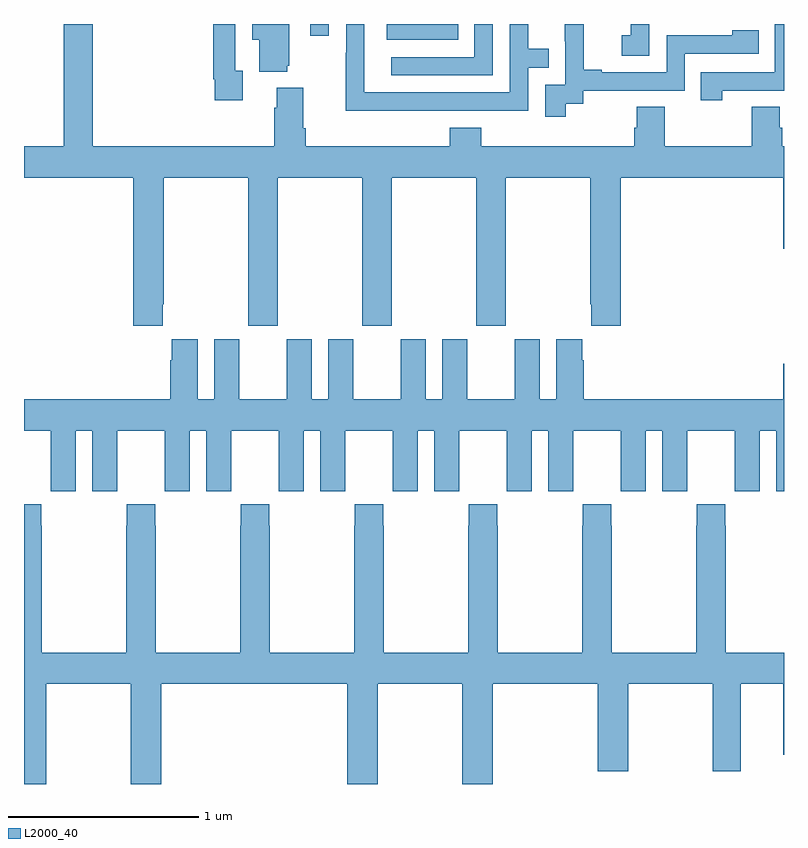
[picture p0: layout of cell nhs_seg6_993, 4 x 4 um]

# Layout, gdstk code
import gdstk
lib = gdstk.Library(unit=1e-6, precision=1e-09)
def R(c, l, rs):  # rectangles x0, y0, x1, y1
    for r in rs: c.add(gdstk.rectangle(r[:2], r[2:], *l))
def P(c, l, *ps):  # polygons
    for p in ps: c.add(gdstk.Polygon(p, *l))
L2000_40 = (2000, 40)

nhs_seg6_993 = lib.new_cell('nhs_seg6_993')
R(nhs_seg6_993, L2000_40, [(174.908,925.418,175.286,925.5), (174.507,925.437,174.603,925.5)])
P(nhs_seg6_993, L2000_40, [(176.674,925.149),(177,925.149),(177,925.5),(176.952,925.5),(176.952,925.245),(176.563,925.245),(176.563,925.098),(176.674,925.098)],
  [(175.157,925.044),(175.653,925.044),(175.653,925.269),(175.763,925.269),(175.763,925.37),(175.653,925.37),(175.653,925.5),(175.557,925.5),(175.557,925.14),(174.792,925.14),(174.792,925.5),(174.696,925.5),(174.696,925.349),(174.694,925.349),(174.694,925.043),(175.157,925.043)],
  [(175.852,925.081),(175.944,925.081),(175.944,925.149),(176.478,925.149),(176.478,925.344),(176.867,925.344),(176.867,925.467),(176.727,925.467),(176.727,925.44),(176.382,925.44),(176.382,925.245),(176.041,925.245),(176.041,925.258),(175.946,925.258),(175.946,925.5),(175.847,925.5),(175.847,925.409),(175.848,925.409),(175.848,925.179),(175.743,925.179),(175.743,925.011),(175.852,925.011)],
  [(175.467,925.5),(175.371,925.5),(175.371,925.326),(174.933,925.326),(174.933,925.23),(175.467,925.23)],
  [(174.386,925.281),(174.397,925.281),(174.397,925.5),(174.2,925.5),(174.2,925.418),(174.239,925.418),(174.239,925.25),(174.386,925.25)],
  [(173.731,924.025),(173.736,924.025),(173.736,924.692),(174.181,924.692),(174.181,923.913),(174.336,923.913),(174.336,924.692),(174.781,924.692),(174.781,923.913),(174.936,923.913),(174.936,924.692),(175.381,924.692),(175.381,923.913),(175.536,923.913),(175.536,924.692),(175.981,924.692),(175.981,924.025),(175.985,924.025),(175.985,923.913),(176.141,923.913),(176.141,924.692),(176.996,924.692),(176.996,924.318),(177,924.318),(177,924.856),(176.99,924.856),(176.99,924.954),(176.977,924.954),(176.977,925.064),(176.83,925.064),(176.83,924.856),(176.373,924.856),(176.373,925.064),(176.225,925.064),(176.225,924.954),(176.213,924.954),(176.213,924.856),(175.406,924.856),(175.406,924.955),(175.241,924.955),(175.241,924.856),(174.482,924.856),(174.482,924.952),(174.469,924.952),(174.469,925.165),(174.329,925.165),(174.329,925.058),(174.317,925.058),(174.317,924.856),(173.363,924.856),(173.363,925.5),(173.21,925.5),(173.21,924.856),(173,924.856),(173,924.692),(173.576,924.692),(173.576,923.913),(173.731,923.913)],
  [(174.151,925.254),(174.111,925.254),(174.111,925.5),(173.995,925.5),(173.995,925.21),(174.003,925.21),(174.003,925.098),(174.151,925.098)],
  [(176.292,925.5),(176.194,925.5),(176.194,925.441),(176.145,925.441),(176.145,925.332),(176.292,925.332)],
  [(174.133,923.842),(174.002,923.842),(174.002,923.524),(173.914,923.524),(173.914,923.842),(173.777,923.842),(173.777,923.729),(173.771,923.729),(173.771,923.524),(173,923.524),(173,923.36),(173.141,923.36),(173.141,923.152),(173.142,923.152),(173.142,923.04),(173.272,923.04),(173.272,923.36),(173.36,923.36),(173.36,923.04),(173.49,923.04),(173.49,923.152),(173.491,923.152),(173.491,923.36),(173.741,923.36),(173.741,923.152),(173.742,923.152),(173.742,923.04),(173.872,923.04),(173.872,923.36),(173.96,923.36),(173.96,923.04),(174.09,923.04),(174.09,923.152),(174.091,923.152),(174.091,923.36),(174.341,923.36),(174.341,923.152),(174.342,923.152),(174.342,923.04),(174.472,923.04),(174.472,923.36),(174.56,923.36),(174.56,923.04),(174.69,923.04),(174.69,923.152),(174.691,923.152),(174.691,923.36),(174.941,923.36),(174.941,923.152),(174.942,923.152),(174.942,923.04),(175.072,923.04),(175.072,923.36),(175.16,923.36),(175.16,923.04),(175.29,923.04),(175.29,923.152),(175.291,923.152),(175.291,923.36),(175.541,923.36),(175.541,923.152),(175.542,923.152),(175.542,923.04),(175.672,923.04),(175.672,923.36),(175.76,923.36),(175.76,923.04),(175.89,923.04),(175.89,923.152),(175.891,923.152),(175.891,923.36),(176.141,923.36),(176.141,923.152),(176.142,923.152),(176.142,923.04),(176.272,923.04),(176.272,923.36),(176.36,923.36),(176.36,923.04),(176.49,923.04),(176.49,923.152),(176.491,923.152),(176.491,923.36),(176.741,923.36),(176.741,923.152),(176.742,923.152),(176.742,923.04),(176.872,923.04),(176.872,923.36),(176.96,923.36),(176.96,923.04),(177,923.04),(177,923.713),(176.996,923.713),(176.996,923.524),(175.946,923.524),(175.946,923.729),(175.939,923.729),(175.939,923.842),(175.802,923.842),(175.802,923.524),(175.714,923.524),(175.714,923.842),(175.583,923.842),(175.583,923.524),(175.333,923.524),(175.333,923.842),(175.202,923.842),(175.202,923.524),(175.114,923.524),(175.114,923.842),(174.983,923.842),(174.983,923.524),(174.733,923.524),(174.733,923.842),(174.602,923.842),(174.602,923.524),(174.514,923.524),(174.514,923.842),(174.383,923.842),(174.383,923.524),(174.133,923.524)],
  [(173.563,921.5),(173.723,921.5),(173.723,922.028),(174.701,922.028),(174.701,921.5),(174.861,921.5),(174.861,922.028),(175.306,922.028),(175.306,921.5),(175.466,921.5),(175.466,922.028),(176.021,922.028),(176.021,921.567),(176.181,921.567),(176.181,922.028),(176.626,922.028),(176.626,921.567),(176.773,921.567),(176.773,922.028),(176.996,922.028),(176.996,921.654),(177,921.654),(177,922.192),(176.694,922.192),(176.694,922.859),(176.691,922.859),(176.691,922.972),(176.541,922.972),(176.541,922.859),(176.539,922.859),(176.539,922.192),(176.094,922.192),(176.094,922.859),(176.091,922.859),(176.091,922.972),(175.941,922.972),(175.941,922.859),(175.939,922.859),(175.939,922.192),(175.494,922.192),(175.494,922.859),(175.491,922.859),(175.491,922.972),(175.341,922.972),(175.341,922.859),(175.339,922.859),(175.339,922.192),(174.894,922.192),(174.894,922.859),(174.891,922.859),(174.891,922.972),(174.741,922.972),(174.741,922.859),(174.739,922.859),(174.739,922.192),(174.294,922.192),(174.294,922.859),(174.291,922.859),(174.291,922.972),(174.141,922.972),(174.141,922.859),(174.139,922.859),(174.139,922.192),(173.694,922.192),(173.694,922.859),(173.691,922.859),(173.691,922.972),(173.541,922.972),(173.541,922.859),(173.539,922.859),(173.539,922.192),(173.094,922.192),(173.094,922.859),(173.091,922.859),(173.091,922.972),(173,922.972),(173,921.5),(173.118,921.5),(173.118,922.028),(173.563,922.028)])

lib.write_gds('nhs_seg6_993.gds')
